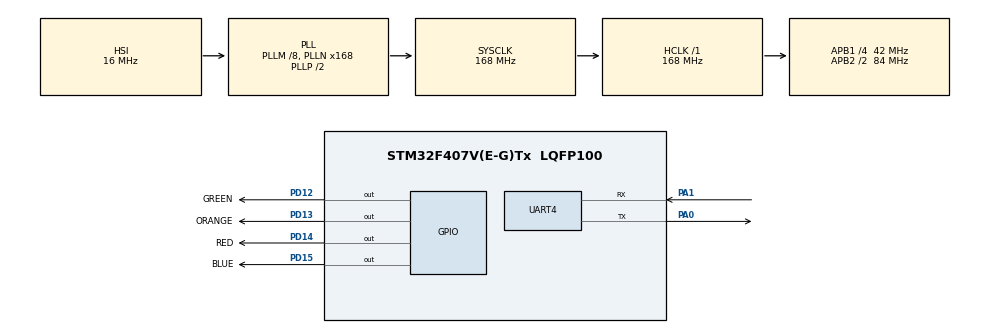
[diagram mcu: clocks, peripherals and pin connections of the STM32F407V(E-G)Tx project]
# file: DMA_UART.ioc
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Dma.Request0=UART4_RX
Dma.UART4_RX.0.Direction=DMA_PERIPH_TO_MEMORY
Dma.UART4_RX.0.FIFOMode=DMA_FIFOMODE_DISABLE
Dma.UART4_RX.0.Instance=DMA1_Stream2
Dma.UART4_RX.0.MemDataAlignment=DMA_MDATAALIGN_BYTE
Dma.UART4_RX.0.MemInc=DMA_MINC_ENABLE
Dma.UART4_RX.0.Mode=DMA_CIRCULAR
Dma.UART4_RX.0.PeriphDataAlignment=DMA_PDATAALIGN_BYTE
Dma.UART4_RX.0.PeriphInc=DMA_PINC_DISABLE
Dma.UART4_RX.0.Priority=DMA_PRIORITY_LOW
Mcu.Family=STM32F4
Mcu.Name=STM32F407V(E-G)Tx
Mcu.Package=LQFP100
NVIC.DMA1_Stream2_IRQn=true\:0\:0\:false\:false\:true
NVIC.PriorityGroup=NVIC_PRIORITYGROUP_4
NVIC.UART4_IRQn=true\:0\:0\:false\:false\:true
PA0-WKUP.Mode=Asynchronous
PA0-WKUP.Signal=UART4_TX
PA1.Mode=Asynchronous
PA1.Signal=UART4_RX
PA13.Mode=Serial_Wire
PA13.Signal=SYS_JTMS-SWDIO
PA14.Mode=Serial_Wire
PA14.Signal=SYS_JTCK-SWCLK
PD12.GPIO_Label=GREEN
PD12.Signal=GPIO_Output
PD13.GPIO_Label=ORANGE
PD13.Signal=GPIO_Output
PD14.GPIO_Label=RED
PD14.Signal=GPIO_Output
PD15.GPIO_Label=BLUE
PD15.Signal=GPIO_Output
PH0-OSC_IN.Mode=HSE-External-Oscillator
PH0-OSC_IN.Signal=RCC_OSC_IN
PH1-OSC_OUT.Mode=HSE-External-Oscillator
PH1-OSC_OUT.Signal=RCC_OSC_OUT
ProjectManager.HeapSize=0x200
ProjectManager.StackSize=0x400
ProjectManager.TargetToolchain=SW4STM32
RCC.48MHZClocksFreq_Value=84000000
RCC.AHBFreq_Value=168000000
RCC.APB1CLKDivider=RCC_HCLK_DIV4
RCC.APB1Freq_Value=42000000
RCC.APB1TimFreq_Value=84000000
RCC.APB2CLKDivider=RCC_HCLK_DIV2
RCC.APB2Freq_Value=84000000
RCC.APB2TimFreq_Value=168000000
RCC.CortexFreq_Value=168000000
RCC.HCLKFreq_Value=168000000
RCC.HSE_VALUE=8000000
RCC.HSI_VALUE=16000000
RCC.LSE_VALUE=32768
RCC.PLLM=8
RCC.PLLN=168
RCC.SYSCLKFreq_VALUE=168000000
RCC.SYSCLKSource=RCC_SYSCLKSOURCE_PLLCLK
RCC.VCOOutputFreq_Value=336000000
UART4.VirtualMode=Asynchronous
board=DMA_UART

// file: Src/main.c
/**
  ******************************************************************************
  * File Name          : main.c
  * Description        : Main program body
  ******************************************************************************
  ** This notice applies to any and all portions of this file
  * that are not between comment pairs USER CODE BEGIN and
  * USER CODE END. Other portions of this file, whether
  * inserted by the user or by software development tools
  * are owned by their respective copyright owners.
  *
  * COPYRIGHT(c) 2017 STMicroelectronics
  *
  * Redistribution and use in source and binary forms, with or without modification,
  * are permitted provided that the following conditions are met:
  *   1. Redistributions of source code must retain the above copyright notice,
  *      this list of conditions and the following disclaimer.
  *   2. Redistributions in binary form must reproduce the above copyright notice,
  *      this list of conditions and the following disclaimer in the documentation
  *      and/or other materials provided with the distribution.
  *   3. Neither the name of STMicroelectronics nor the names of its contributors
  *      may be used to endorse or promote products derived from this software
  *      without specific prior written permission.
  *
  * THIS SOFTWARE IS PROVIDED BY THE COPYRIGHT HOLDERS AND CONTRIBUTORS "AS IS"
  * AND ANY EXPRESS OR IMPLIED WARRANTIES, INCLUDING, BUT NOT LIMITED TO, THE
  * IMPLIED WARRANTIES OF MERCHANTABILITY AND FITNESS FOR A PARTICULAR PURPOSE ARE
  * DISCLAIMED. IN NO EVENT SHALL THE COPYRIGHT HOLDER OR CONTRIBUTORS BE LIABLE
  * FOR ANY DIRECT, INDIRECT, INCIDENTAL, SPECIAL, EXEMPLARY, OR CONSEQUENTIAL
  * DAMAGES (INCLUDING, BUT NOT LIMITED TO, PROCUREMENT OF SUBSTITUTE GOODS OR
  * SERVICES; LOSS OF USE, DATA, OR PROFITS; OR BUSINESS INTERRUPTION) HOWEVER
  * CAUSED AND ON ANY THEORY OF LIABILITY, WHETHER IN CONTRACT, STRICT LIABILITY,
  * OR TORT (INCLUDING NEGLIGENCE OR OTHERWISE) ARISING IN ANY WAY OUT OF THE USE
  * OF THIS SOFTWARE, EVEN IF ADVISED OF THE POSSIBILITY OF SUCH DAMAGE.
  *
  ******************************************************************************
  */
#include "main.h"
#include "stm32f4xx_hal.h"

/* USER CODE BEGIN Includes */
#include "ringbuffer_dma.h"
#include <string.h>
/*
	TechMaker
	https://techmaker.ua
	Тема 10.
	UART + DMA. Связь по bluetooth
	Плата STM32 F446RE Nucleo

	UART4 включен в режиме Asynchronous с выводами Tx (PC10) и Rx (PC11), конфигурация 9600-8-N-1. DMA настроен на событие UART4_RX в кольцевом режиме, размер данных Byte (8 bit), включен инкремент адреса памяти.

	PC10	------> UART4_TX	[Rx модуля bluetooth]
	PC11	------> UART4_RX	[Tx модуля bluetooth]
	LCD		------> Arduino Connector

	+ добавить библиотеку display
	+ добавить библиотеку ringbuffer_dma
*/
/* USER CODE END Includes */

UART_HandleTypeDef huart4;
DMA_HandleTypeDef hdma_uart4_rx;

/* USER CODE BEGIN PV */
/* Private variables ---------------------------------------------------------*/
/* USER CODE END PV */

void SystemClock_Config(void);
static void MX_GPIO_Init(void);
static void MX_DMA_Init(void);
static void MX_UART4_Init(void);

/* USER CODE BEGIN PFP */
/* Private function prototypes -----------------------------------------------*/

/* USER CODE END PFP */

/* USER CODE BEGIN 0 */
/* Ringbuffer for Rx messages */
RingBuffer_DMA rx_buf;
/* Array for DMA to save Rx bytes */
#define BUF_SIZE 256
uint8_t rx[BUF_SIZE];
uint32_t rx_count = 0;
/* Array for received commands */
char cmd[128];
uint8_t icmd = 0;

/* USER CODE END 0 */

int main(void)
{

  /* MCU Configuration----------------------------------------------------------*/

  /* Reset of all peripherals, Initializes the Flash interface and the Systick. */
  HAL_Init();

  /* Configure the system clock */
  SystemClock_Config();

  /* Initialize all configured peripherals */
  MX_GPIO_Init();
  MX_DMA_Init();
  MX_UART4_Init();

  /* USER CODE BEGIN 2 */

	/* Init RingBuffer_DMA object */
	RingBuffer_DMA_Init(&rx_buf, &hdma_uart4_rx, rx, BUF_SIZE);
	/* Start UART4 DMA Reception */
	HAL_UART_Receive_DMA(&huart4, rx, BUF_SIZE);

  /* USER CODE END 2 */

  /* Infinite loop */
  /* USER CODE BEGIN WHILE */
  while (1)
  {
		/* Check number of bytes in RingBuffer */
		rx_count = RingBuffer_DMA_Count(&rx_buf);
		/* Process each byte individually */
		while (rx_count--) {
			/* Read out one byte from RingBuffer */
			uint8_t b = RingBuffer_DMA_GetByte(&rx_buf);
			if (b == '\r') { /* If \r process command */
				cmd[icmd++] = b;
				/* Send recive messege */
				HAL_UART_Transmit(&huart4, (uint8_t*)cmd, icmd, 100);
				icmd = 0;
				/* Process command */
			} else if (b == '\r') { /* If \r skip */
				continue;
			} else { /* If regular character, put it into cmd[] */
				cmd[icmd++] = b;
			}
		}

  /* USER CODE END WHILE */

  }

}

/** System Clock Configuration
*/
void SystemClock_Config(void)
{

  RCC_OscInitTypeDef RCC_OscInitStruct;
  RCC_ClkInitTypeDef RCC_ClkInitStruct;

    /**Configure the main internal regulator output voltage
    */
  __HAL_RCC_PWR_CLK_ENABLE();

  __HAL_PWR_VOLTAGESCALING_CONFIG(PWR_REGULATOR_VOLTAGE_SCALE1);

    /**Initializes the CPU, AHB and APB busses clocks
    */
  RCC_OscInitStruct.OscillatorType = RCC_OSCILLATORTYPE_HSI;
  RCC_OscInitStruct.HSIState = RCC_HSI_ON;
  RCC_OscInitStruct.HSICalibrationValue = 16;
  RCC_OscInitStruct.PLL.PLLState = RCC_PLL_ON;
  RCC_OscInitStruct.PLL.PLLSource = RCC_PLLSOURCE_HSI;
  RCC_OscInitStruct.PLL.PLLM = 8;
  RCC_OscInitStruct.PLL.PLLN = 168;
  RCC_OscInitStruct.PLL.PLLP = RCC_PLLP_DIV2;
  RCC_OscInitStruct.PLL.PLLQ = 4;
  if (HAL_RCC_OscConfig(&RCC_OscInitStruct) != HAL_OK)
  {
    _Error_Handler(__FILE__, __LINE__);
  }

    /**Initializes the CPU, AHB and APB busses clocks
    */
  RCC_ClkInitStruct.ClockType = RCC_CLOCKTYPE_HCLK|RCC_CLOCKTYPE_SYSCLK
                              |RCC_CLOCKTYPE_PCLK1|RCC_CLOCKTYPE_PCLK2;
  RCC_ClkInitStruct.SYSCLKSource = RCC_SYSCLKSOURCE_PLLCLK;
  RCC_ClkInitStruct.AHBCLKDivider = RCC_SYSCLK_DIV1;
  RCC_ClkInitStruct.APB1CLKDivider = RCC_HCLK_DIV4;
  RCC_ClkInitStruct.APB2CLKDivider = RCC_HCLK_DIV2;

  if (HAL_RCC_ClockConfig(&RCC_ClkInitStruct, FLASH_LATENCY_5) != HAL_OK)
  {
    _Error_Handler(__FILE__, __LINE__);
  }

    /**Configure the Systick interrupt time
    */
  HAL_SYSTICK_Config(HAL_RCC_GetHCLKFreq()/1000);

    /**Configure the Systick
    */
  HAL_SYSTICK_CLKSourceConfig(SYSTICK_CLKSOURCE_HCLK);

  /* SysTick_IRQn interrupt configuration */
  HAL_NVIC_SetPriority(SysTick_IRQn, 0, 0);
}

/* UART4 init function */
static void MX_UART4_Init(void)
{

  huart4.Instance = UART4;
  huart4.Init.BaudRate = 115200;
  huart4.Init.WordLength = UART_WORDLENGTH_8B;
  huart4.Init.StopBits = UART_STOPBITS_1;
  huart4.Init.Parity = UART_PARITY_NONE;
  huart4.Init.Mode = UART_MODE_TX_RX;
  huart4.Init.HwFlowCtl = UART_HWCONTROL_NONE;
  huart4.Init.OverSampling = UART_OVERSAMPLING_16;
  if (HAL_UART_Init(&huart4) != HAL_OK)
  {
    _Error_Handler(__FILE__, __LINE__);
  }

}

static void MX_DMA_Init(void)
{
  /* DMA controller clock enable */
  __HAL_RCC_DMA1_CLK_ENABLE();

  /* DMA interrupt init */
  /* DMA1_Stream2_IRQn interrupt configuration */
  HAL_NVIC_SetPriority(DMA1_Stream2_IRQn, 0, 0);
  HAL_NVIC_EnableIRQ(DMA1_Stream2_IRQn);

}

/** Configure pins as
        * Analog
        * Input
        * Output
        * EVENT_OUT
        * EXTI
*/
static void MX_GPIO_Init(void)
{

  GPIO_InitTypeDef GPIO_InitStruct;

  /* GPIO Ports Clock Enable */
  __HAL_RCC_GPIOH_CLK_ENABLE();
  __HAL_RCC_GPIOA_CLK_ENABLE();
  __HAL_RCC_GPIOD_CLK_ENABLE();

  /*Configure GPIO pin Output Level */
  HAL_GPIO_WritePin(GPIOD, GREEN_Pin|ORANGE_Pin|RED_Pin|BLUE_Pin, GPIO_PIN_RESET);

  /*Configure GPIO pins : GREEN_Pin ORANGE_Pin RED_Pin BLUE_Pin */
  GPIO_InitStruct.Pin = GREEN_Pin|ORANGE_Pin|RED_Pin|BLUE_Pin;
  GPIO_InitStruct.Mode = GPIO_MODE_OUTPUT_PP;
  GPIO_InitStruct.Pull = GPIO_NOPULL;
  GPIO_InitStruct.Speed = GPIO_SPEED_FREQ_LOW;
  HAL_GPIO_Init(GPIOD, &GPIO_InitStruct);

}

void _Error_Handler(char * file, int line)
{
  while(1)
  {
  }
}

/************************ (C) COPYRIGHT STMicroelectronics *****END OF FILE****/
